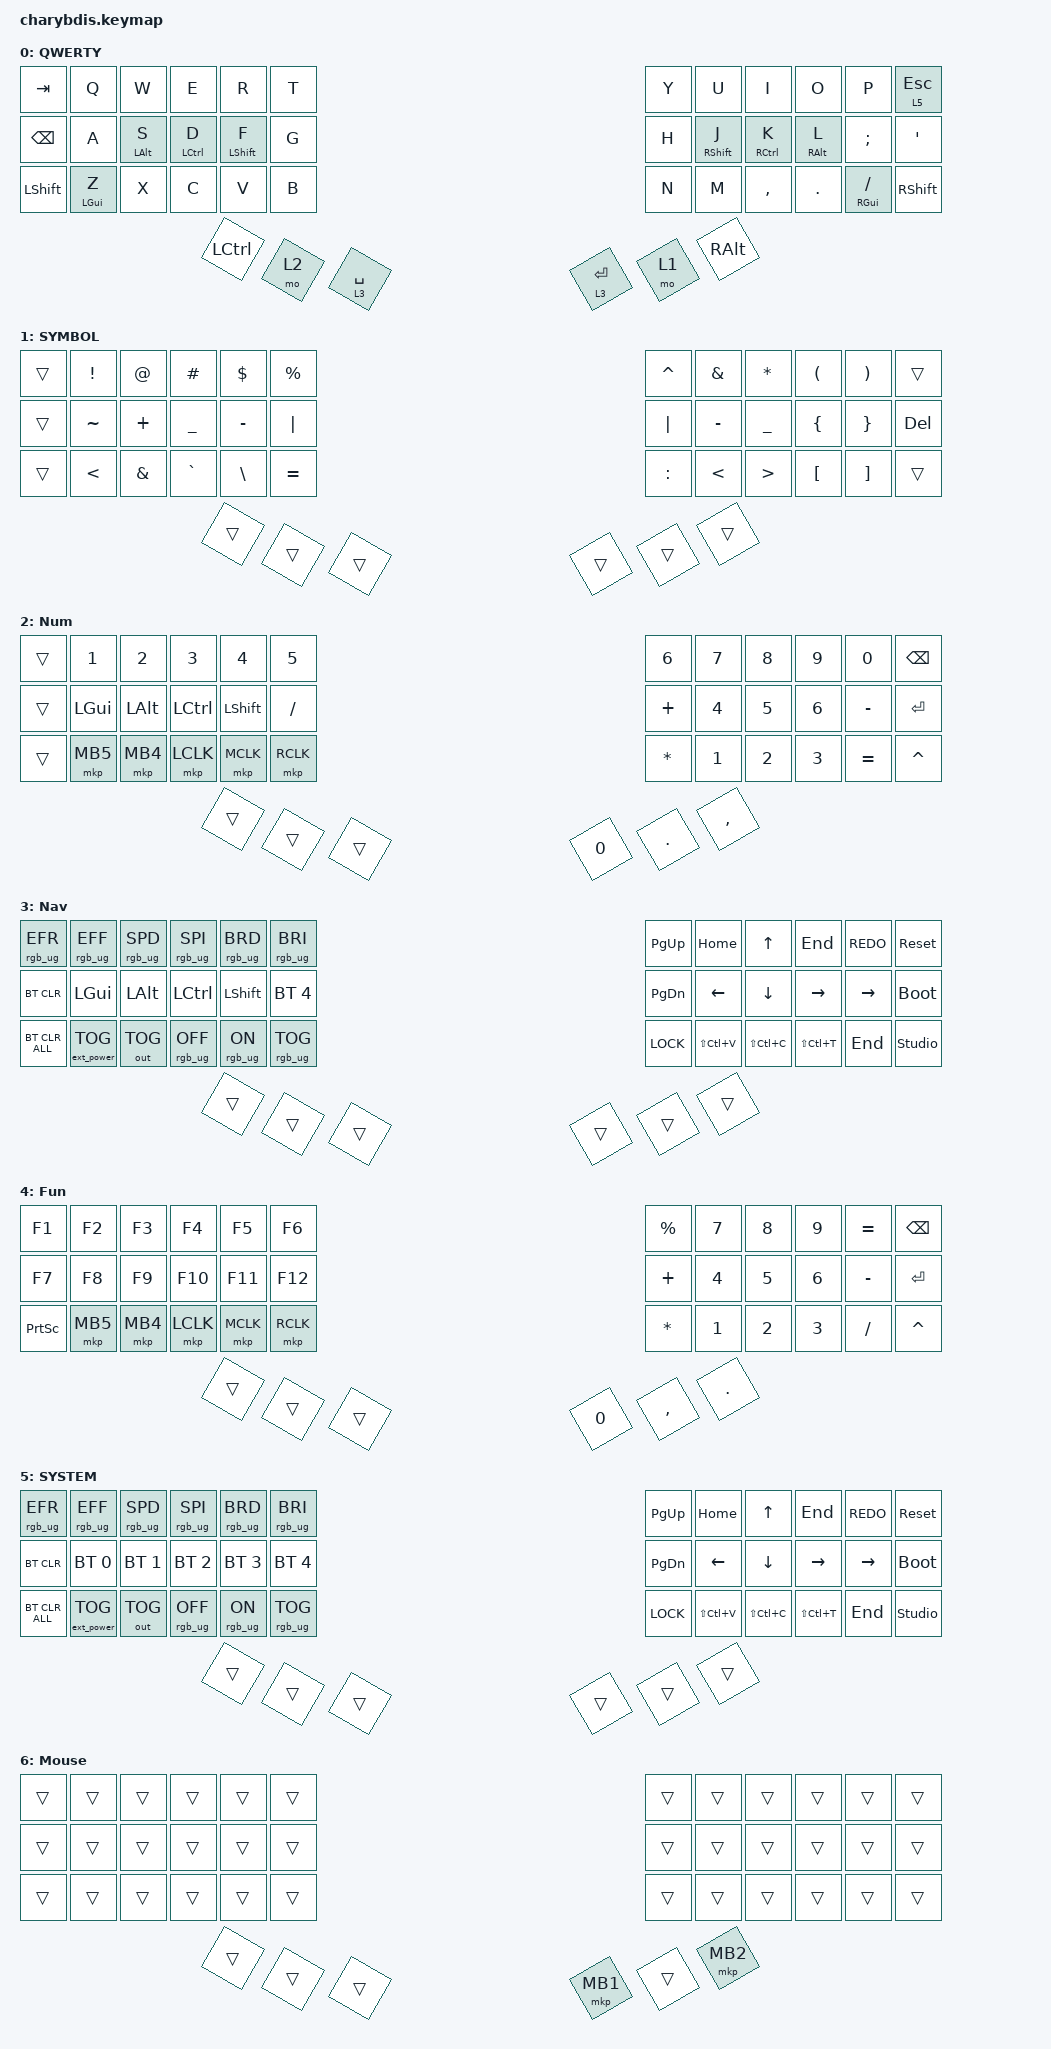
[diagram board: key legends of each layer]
#include <behaviors.dtsi>
#include <dt-bindings/zmk/bt.h>
#include <dt-bindings/zmk/ext_power.h>
#include <dt-bindings/zmk/keys.h>
#include <dt-bindings/zmk/outputs.h>
#include <dt-bindings/zmk/pointing.h>
#include <dt-bindings/zmk/rgb.h>

/ {
    behaviors {
        td0: td0 {
            compatible = "zmk,behavior-tap-dance";
            display-name = "Shift/Caps Lock Tap Dance";
            #binding-cells = <0>;
            bindings = <&kp LEFT_SHIFT>, <&kp CAPS>;
        };

        hrm_left: hrm_left {
            compatible = "zmk,behavior-hold-tap";
            label = "HRM_LEFT";
            bindings = <&kp>, <&kp>;

            #binding-cells = <2>;
            flavor = "balanced";
            tapping-term-ms = <220>;
            quick-tap-ms = <175>;
            require-prior-idle-ms = <125>;
            hold-trigger-on-release;
            hold-trigger-key-positions = <6 7 20 21 22 35 36 45 46 47 8 9 10 11 23 37 38 39 40 41 19 34 44 43 42 33 32 31 30 18>;
        };

        hrm_right: hrm_right {
            compatible = "zmk,behavior-hold-tap";
            label = "HRM_RIGHT";
            bindings = <&kp>, <&kp>;

            #binding-cells = <2>;
            flavor = "balanced";
            tapping-term-ms = <220>;
            quick-tap-ms = <175>;
            require-prior-idle-ms = <125>;
            hold-trigger-on-release;
            hold-trigger-key-positions = <0 1 2 3 4 5 13 14 15 16 17 28 29 42 43 44 45 46 47 36 37 38 27 26 25 24 12 39 40 41>;
        };

        layer_tap: layer_tap {
            compatible = "zmk,behavior-hold-tap";
            label = "LAYER_TAP";
            bindings = <&mo>, <&kp>;

            #binding-cells = <2>;
            quick-tap-ms = <175>;
            flavor = "tap-preferred";
            tapping-term-ms = <280>;
        };
    };

    combos {
        compatible = "zmk,combos";

        combo_lbrc {
            timeout-ms = <50>;
            key-positions = <4 5>; // KP: VB
            bindings = <&mt RBRC LBRC>;
            layers = <0 1 2 3 4 5>;
        };

        combo_rbrc {
            timeout-ms = <50>;
            key-positions = <6 7>; // KP: NM
            bindings = <&kp RBRC>;
            layers = <0 1 2 3 4 5>;
        };

        combo_lpar {
            timeout-ms = <50>;
            key-positions = <16 17>; // KP: FG
            bindings = <&mt RPAR LPAR>;
            layers = <0 1 2 3 4 5>;
        };

        combo_rpar {
            timeout-ms = <50>;
            key-positions = <18 19>;
            bindings = <&kp RPAR>;
            layers = <0 1 2 3 4 5>;
        };

        combo_lbkt {
            timeout-ms = <50>;
            key-positions = <28 29>; // KP: RT
            bindings = <&mt RBKT LBKT>;
            layers = <0 1 2 3 4 5>;
        };

        combo_rbkt {
            timeout-ms = <50>;
            key-positions = <30 31>; // KP: YU
            bindings = <&kp RBKT>;
            layers = <0 1 2 3 4 5>;
        };

        esc {
            timeout-ms = <50>;
            key-positions = <0 1>;
            bindings = <&kp ESC>; // ESC
            layers = <0>;
        };

        up {
            bindings = <&kp UP>;
            key-positions = <3 4>;
            layers = <0>;
            timeout-ms = <50>;
        };

        down {
            bindings = <&kp DOWN>;
            key-positions = <27 28>;
            timeout-ms = <50>;
            layers = <0>;
        };

        left {
            bindings = <&kp LEFT>;
            key-positions = <14 15>;
            layers = <0>;
            timeout-ms = <50>;
        };

        right {
            bindings = <&kp RIGHT>;
            key-positions = <15 16>;
            layers = <0>;
            timeout-ms = <50>;
        };
    };

    keymap {
        compatible = "zmk,keymap";

        qwerty {
            display-name = "QWERTY";
            bindings = <
&kp TAB         &kp Q                 &kp W             &kp E              &kp R              &kp T        &kp Y        &kp U               &kp I               &kp O              &kp P                       &layer_tap 5 ESC
&kp BACKSPACE   &kp A                 &hrm_left LALT S  &hrm_left LCTRL D  &hrm_left LSHFT F  &kp G        &kp H        &hrm_right RSHFT J  &hrm_right RCTRL K  &hrm_right RALT L  &kp SEMICOLON               &kp SQT
&kp LEFT_SHIFT  &hrm_left LEFT_GUI Z  &kp X             &kp C              &kp V              &kp B        &kp N        &kp M               &kp COMMA           &kp DOT            &hrm_right RIGHT_GUI SLASH  &kp RIGHT_SHIFT
                                                        &kp LCTRL          &mo 2              &lt 3 SPACE  &lt 3 ENTER  &mo 1               &kp RIGHT_ALT
            >;
        };

        symbol {
            bindings = <
&trans  &kp EXCLAMATION  &kp AT_SIGN    &kp HASH        &kp DOLLAR     &kp PERCENT  &kp CARET  &kp AMPERSAND  &kp ASTERISK      &kp LEFT_PARENTHESIS  &kp RIGHT_PARENTHESIS  &trans
&trans  &kp TILDE        &kp PLUS       &kp UNDERSCORE  &kp MINUS      &kp PIPE     &kp PIPE   &kp MINUS      &kp UNDERSCORE    &kp LEFT_BRACE        &kp RIGHT_BRACE        &kp DELETE
&trans  &kp LESS_THAN    &kp AMPERSAND  &kp GRAVE       &kp BACKSLASH  &kp EQUAL    &kp COLON  &kp LESS_THAN  &kp GREATER_THAN  &kp LEFT_BRACKET      &kp RIGHT_BRACKET      &trans
                                        &trans          &trans         &trans       &trans     &trans         &trans
            >;

            label = "SYMBOL";
        };

        Num {
            label = "Num";
            bindings = <
&trans  &kp N1        &kp N2        &kp N3            &kp N4          &kp N5     &kp N6        &kp N7      &kp N8     &kp N9  &kp N0     &kp BACKSPACE
&trans  &kp LEFT_GUI  &kp LEFT_ALT  &kp LEFT_CONTROL  &kp LEFT_SHIFT  &kp SLASH  &kp PLUS      &kp N4      &kp N5     &kp N6  &kp MINUS  &kp ENTER
&trans  &mkp MB5      &mkp MB4      &mkp LCLK         &mkp MCLK       &mkp RCLK  &kp ASTERISK  &kp N1      &kp N2     &kp N3  &kp EQUAL  &kp CARET
                                    &trans            &trans          &trans     &kp N0        &kp PERIOD  &kp COMMA
            >;
        };

        Nav {
            display-name = "Nav";
            bindings = <
&rgb_ug RGB_EFR  &rgb_ug RGB_EFF    &rgb_ug RGB_SPD  &rgb_ug RGB_SPI   &rgb_ug RGB_BRD  &rgb_ug RGB_BRI  &kp PAGE_UP    &kp HOME        &kp UP_ARROW    &kp END        &kp K_REDO  &sys_reset
&bt BT_CLR       &kp LEFT_GUI       &kp LEFT_ALT     &kp LEFT_CONTROL  &kp LEFT_SHIFT   &bt BT_SEL 4     &kp PAGE_DOWN  &kp LEFT_ARROW  &kp DOWN_ARROW  &kp RIGHT      &kp RIGHT   &bootloader
&bt BT_CLR_ALL   &ext_power EP_TOG  &out OUT_TOG     &rgb_ug RGB_OFF   &rgb_ug RGB_ON   &rgb_ug RGB_TOG  &kp K_LOCK     &kp LS(LC(V))   &kp LS(LC(C))   &kp LS(LC(T))  &kp END     &studio_unlock
                                                     &trans            &trans           &trans           &trans         &trans          &trans
            >;
        };

        Fun {
            bindings = <
&kp F1           &kp F2    &kp F3    &kp F4     &kp F5     &kp F6     &kp PERCENT   &kp N7     &kp N8   &kp N9  &kp EQUAL  &kp BACKSPACE
&kp F7           &kp F8    &kp F9    &kp F10    &kp F11    &kp F12    &kp PLUS      &kp N4     &kp N5   &kp N6  &kp MINUS  &kp ENTER
&kp PRINTSCREEN  &mkp MB5  &mkp MB4  &mkp LCLK  &mkp MCLK  &mkp RCLK  &kp ASTERISK  &kp N1     &kp N2   &kp N3  &kp FSLH   &kp CARET
                                     &trans     &trans     &trans     &kp N0        &kp COMMA  &kp DOT
            >;

            label = "Fun";
        };

        system {
            display-name = "SYSTEM";
            bindings = <
&rgb_ug RGB_EFR  &rgb_ug RGB_EFF    &rgb_ug RGB_SPD  &rgb_ug RGB_SPI  &rgb_ug RGB_BRD  &rgb_ug RGB_BRI  &kp PAGE_UP    &kp HOME        &kp UP_ARROW    &kp END        &kp K_REDO  &sys_reset
&bt BT_CLR       &bt BT_SEL 0       &bt BT_SEL 1     &bt BT_SEL 2     &bt BT_SEL 3     &bt BT_SEL 4     &kp PAGE_DOWN  &kp LEFT_ARROW  &kp DOWN_ARROW  &kp RIGHT      &kp RIGHT   &bootloader
&bt BT_CLR_ALL   &ext_power EP_TOG  &out OUT_TOG     &rgb_ug RGB_OFF  &rgb_ug RGB_ON   &rgb_ug RGB_TOG  &kp K_LOCK     &kp LS(LC(V))   &kp LS(LC(C))   &kp LS(LC(T))  &kp END     &studio_unlock
                                                     &trans           &trans           &trans           &trans         &trans          &trans
            >;
        };

        Mouse {
            bindings = <
&trans  &trans  &trans  &trans  &trans  &trans  &trans    &trans  &trans    &trans  &trans  &trans
&trans  &trans  &trans  &trans  &trans  &trans  &trans    &trans  &trans    &trans  &trans  &trans
&trans  &trans  &trans  &trans  &trans  &trans  &trans    &trans  &trans    &trans  &trans  &trans
                        &trans  &trans  &trans  &mkp MB1  &trans  &mkp MB2
            >;
        };
    };
};
